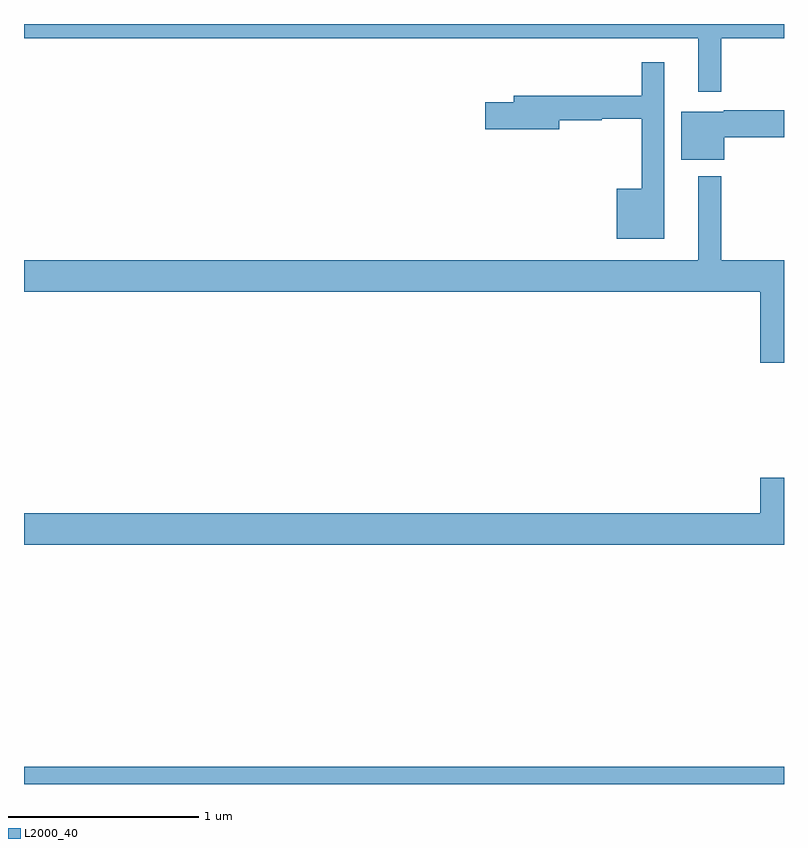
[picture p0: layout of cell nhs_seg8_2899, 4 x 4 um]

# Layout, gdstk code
import gdstk
lib = gdstk.Library(unit=1e-6, precision=1e-09)
def R(c, l, rs):  # rectangles x0, y0, x1, y1
    for r in rs: c.add(gdstk.rectangle(r[:2], r[2:], *l))
def P(c, l, *ps):  # polygons
    for p in ps: c.add(gdstk.Polygon(p, *l))
L2000_40 = (2000, 40)

nhs_seg8_2899 = lib.new_cell('nhs_seg8_2899')
R(nhs_seg8_2899, L2000_40, [(293,1121.9,297,1121.992)])
P(nhs_seg8_2899, L2000_40, [(296.671,1125.824),(297,1125.824),(297,1125.9),(293,1125.9),(293,1125.824),(296.549,1125.824),(296.549,1125.543),(296.671,1125.543)],
  [(296.371,1125.7),(296.25,1125.7),(296.25,1125.523),(295.577,1125.523),(295.577,1125.489),(295.428,1125.489),(295.428,1125.347),(295.816,1125.347),(295.816,1125.394),(296.042,1125.394),(296.042,1125.402),(296.25,1125.402),(296.25,1125.034),(296.12,1125.034),(296.12,1124.771),(296.371,1124.771)],
  [(296.686,1125.305),(297,1125.305),(297,1125.447),(296.682,1125.447),(296.682,1125.439),(296.459,1125.439),(296.459,1125.185),(296.686,1125.185)],
  [(297,1124.656),(296.671,1124.656),(296.671,1125.1),(296.549,1125.1),(296.549,1124.656),(293,1124.656),(293,1124.492),(296.876,1124.492),(296.876,1124.118),(297,1124.118)],
  [(297,1123.513),(296.876,1123.513),(296.876,1123.324),(293,1123.324),(293,1123.16),(297,1123.16)])

lib.write_gds('nhs_seg8_2899.gds')
